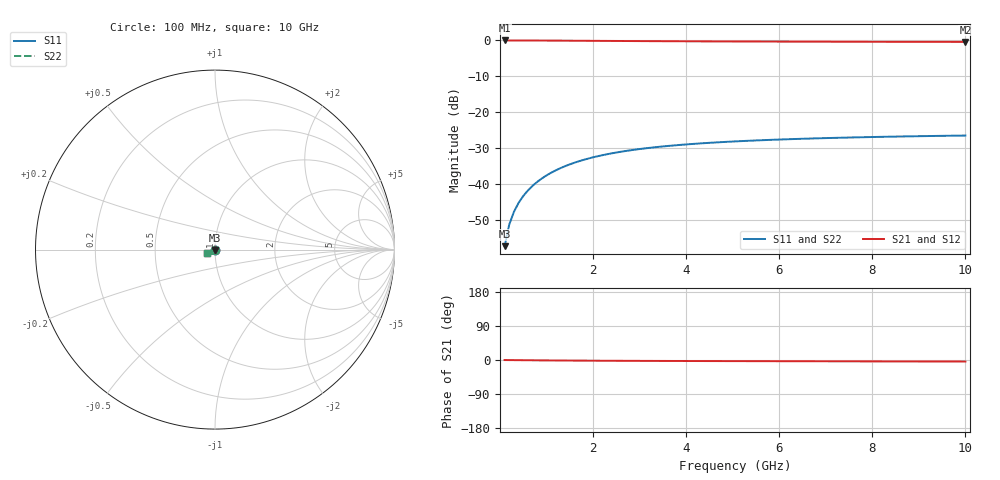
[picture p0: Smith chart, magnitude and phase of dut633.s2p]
! Touchstone file exported from HFSS 2024.1.0
!  File:  C:/UserFiles/LocalFiles/RDL_TSV_Batchsim/temp_TSV1_633_1779790277.aedt
!  Generated:  06:15:33 PM May 26, 2026
!  Design:  TSV1
!  Project:  temp_TSV1_633_1779790277
!  Setup:  Setup1
!  Solution:  Sweep
! Variables:
!  dtsv = 14.64um
!  hbump = 3um
!  htsv = 59.46um
!  lrdl = 252.1521522um
!  p = 40
!  p1 = 49.33um
!  t = 500um
!  trdl = 3um
!  wrdl = 24.89489489um
# GHz S MA R 50.000000
! Terminal data exported
! Port[1] = TSV22_T1
! Port[2] = TSV22_T2
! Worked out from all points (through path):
!   100 points, 100 MHz to 10 GHz, reference 50 ohm
!   highest |S21| = 0.00 dB at 100 MHz (marker M1); lowest = -0.4 dB at 10 GHz (marker M2)
!   lowest |S11| = -57.2 dB at 100 MHz (marker M3), VSWR 1.00, Z = 50 - j0.138 ohm
!   |S11| at or under -10 dB: start of sweep to end of sweep
!   |S22| runs from -57.2 to -26.4 dB; largest |S21 - S12| = 4.6e-15
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0.1  0.001384 -88.8  0.9999 -0.1  0.9999 -0.1  0.001384 -88.8
! Gamma 0 0 0 0
! Port Impedance 50 0 50 0
0.2  0.002772 -92.2  0.9998 -0.2  0.9998 -0.2  0.002772 -92.2
0.3  0.004155 -94.3  0.9995 -0.3  0.9995 -0.3  0.004155 -94.3
0.4  0.005527 -96.3  0.9992 -0.4  0.9992 -0.4  0.005527 -96.3
0.5  0.006883 -98.1  0.9989 -0.6  0.9989 -0.6  0.006883 -98.1
0.6  0.008219 -99.8  0.9984 -0.7  0.9984 -0.7  0.008219 -99.8
0.7  0.009532 -101.5  0.9979 -0.8  0.9979 -0.8  0.009532 -101.5
0.8  0.01082 -103.2  0.9973 -0.9  0.9973 -0.9  0.01082 -103.2
0.9  0.01208 -104.8  0.9967 -1.0  0.9967 -1.0  0.01208 -104.8
1.1  0.01451 -107.9  0.9953 -1.2  0.9953 -1.2  0.01451 -107.9
1.4  0.01791 -112.3  0.9929 -1.4  0.9929 -1.4  0.01791 -112.3
1.6  0.02 -115.1  0.9912 -1.6  0.9912 -1.6  0.02 -115.1
1.8  0.02194 -117.7  0.9895 -1.7  0.9895 -1.7  0.02194 -117.7
2.1  0.02461 -121.4  0.987 -1.9  0.987 -1.9  0.02461 -121.4
2.5  0.02771 -125.8  0.9837 -2.1  0.9837 -2.1  0.02771 -125.8
2.9  0.03036 -129.6  0.9806 -2.3  0.9806 -2.3  0.03036 -129.6
3.4  0.03316 -133.8  0.977 -2.5  0.977 -2.5  0.03316 -133.8
4.2  0.03669 -139.4  0.9722 -2.7  0.9722 -2.7  0.03669 -139.4
5.1  0.03968 -144.3  0.9677 -3.0  0.9677 -3.0  0.03968 -144.3
6.7  0.04341 -151.0  0.9619 -3.3  0.9619 -3.3  0.04341 -151.0
8.4  0.04602 -156.3  0.9577 -3.7  0.9577 -3.7  0.04602 -156.3
10  0.04771 -160.1  0.9548 -4.1  0.9548 -4.1  0.04771 -160.1
